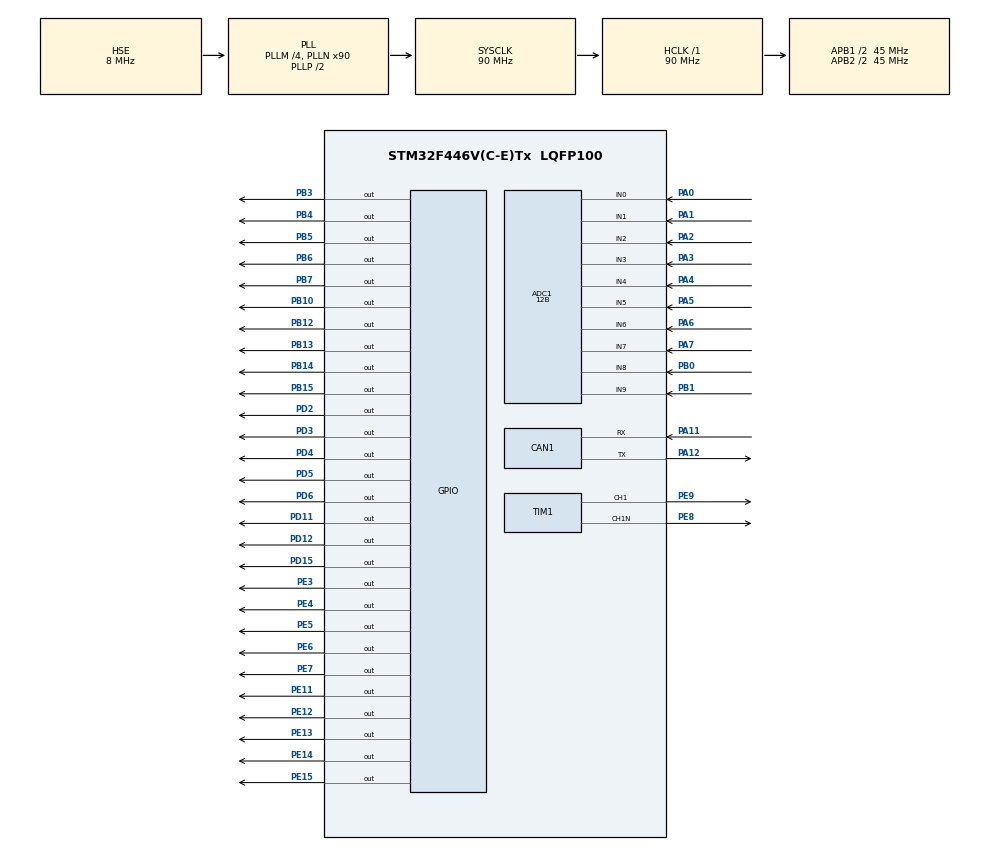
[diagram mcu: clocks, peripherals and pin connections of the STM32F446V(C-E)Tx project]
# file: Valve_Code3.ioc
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ADC1.Channel-0\#ChannelRegularConversion=ADC_CHANNEL_0
ADC1.Channel-1\#ChannelRegularConversion=ADC_CHANNEL_1
ADC1.Channel-2\#ChannelRegularConversion=ADC_CHANNEL_2
ADC1.Channel-3\#ChannelRegularConversion=ADC_CHANNEL_3
ADC1.Channel-4\#ChannelRegularConversion=ADC_CHANNEL_4
ADC1.Channel-5\#ChannelRegularConversion=ADC_CHANNEL_5
ADC1.Channel-6\#ChannelRegularConversion=ADC_CHANNEL_6
ADC1.Channel-7\#ChannelRegularConversion=ADC_CHANNEL_7
ADC1.Channel-8\#ChannelRegularConversion=ADC_CHANNEL_8
ADC1.Channel-9\#ChannelRegularConversion=ADC_CHANNEL_9
ADC1.ClockPrescaler=ADC_CLOCK_SYNC_PCLK_DIV4
ADC1.ContinuousConvMode=DISABLE
ADC1.DMAContinuousRequests=DISABLE
ADC1.DataAlign=ADC_DATAALIGN_RIGHT
ADC1.DiscontinuousConvMode=DISABLE
ADC1.EOCSelection=ADC_EOC_SINGLE_CONV
ADC1.EnableAnalogWatchDog=false
ADC1.ExternalTrigConv=ADC_SOFTWARE_START
ADC1.ExternalTrigConvEdge=ADC_EXTERNALTRIGCONVEDGE_NONE
ADC1.InjNumberOfConversion=0
ADC1.NbrOfConversion=10
ADC1.NbrOfConversionFlag=1
ADC1.Rank-0\#ChannelRegularConversion=1
ADC1.Rank-1\#ChannelRegularConversion=2
ADC1.Rank-2\#ChannelRegularConversion=3
ADC1.Rank-3\#ChannelRegularConversion=4
ADC1.Rank-4\#ChannelRegularConversion=5
ADC1.Rank-5\#ChannelRegularConversion=6
ADC1.Rank-6\#ChannelRegularConversion=7
ADC1.Rank-7\#ChannelRegularConversion=8
ADC1.Rank-8\#ChannelRegularConversion=9
ADC1.Rank-9\#ChannelRegularConversion=10
ADC1.Resolution=ADC_RESOLUTION_12B
ADC1.SamplingTime-0\#ChannelRegularConversion=ADC_SAMPLETIME_84CYCLES
ADC1.SamplingTime-1\#ChannelRegularConversion=ADC_SAMPLETIME_84CYCLES
ADC1.SamplingTime-2\#ChannelRegularConversion=ADC_SAMPLETIME_84CYCLES
ADC1.SamplingTime-3\#ChannelRegularConversion=ADC_SAMPLETIME_84CYCLES
ADC1.SamplingTime-4\#ChannelRegularConversion=ADC_SAMPLETIME_84CYCLES
ADC1.SamplingTime-5\#ChannelRegularConversion=ADC_SAMPLETIME_84CYCLES
ADC1.SamplingTime-6\#ChannelRegularConversion=ADC_SAMPLETIME_84CYCLES
ADC1.SamplingTime-7\#ChannelRegularConversion=ADC_SAMPLETIME_84CYCLES
ADC1.SamplingTime-8\#ChannelRegularConversion=ADC_SAMPLETIME_84CYCLES
ADC1.SamplingTime-9\#ChannelRegularConversion=ADC_SAMPLETIME_84CYCLES
ADC1.ScanConvMode=DISABLE
ADC1.master=1
CAN1.CalculateTimeBit=1066
CAN1.CalculateTimeQuantum=355.55555555555554
Mcu.Family=STM32F4
Mcu.Name=STM32F446V(C-E)Tx
Mcu.Package=LQFP100
NVIC.PriorityGroup=NVIC_PRIORITYGROUP_4
PA0-WKUP.Signal=ADCx_IN0
PA1.Signal=ADCx_IN1
PA11.Mode=Master
PA11.Signal=CAN1_RX
PA12.Mode=Master
PA12.Signal=CAN1_TX
PA13.Mode=Serial_Wire
PA13.Signal=SYS_JTMS-SWDIO
PA14.Mode=Serial_Wire
PA14.Signal=SYS_JTCK-SWCLK
PA2.Signal=ADCx_IN2
PA3.Signal=ADCx_IN3
PA4.Signal=ADCx_IN4
PA5.Signal=ADCx_IN5
PA6.Signal=ADCx_IN6
PA7.Signal=ADCx_IN7
PB0.Signal=ADCx_IN8
PB1.Signal=ADCx_IN9
PB10.Signal=GPIO_Output
PB12.Signal=GPIO_Output
PB13.Signal=GPIO_Output
PB14.Signal=GPIO_Output
PB15.Signal=GPIO_Output
PB3.Signal=GPIO_Output
PB4.Signal=GPIO_Output
PB5.Signal=GPIO_Output
PB6.Signal=GPIO_Output
PB7.Signal=GPIO_Output
PD11.Signal=GPIO_Output
PD12.Signal=GPIO_Output
PD15.Signal=GPIO_Output
PD2.Signal=GPIO_Output
PD3.Signal=GPIO_Output
PD4.Signal=GPIO_Output
PD5.Signal=GPIO_Output
PD6.Signal=GPIO_Output
PE11.Signal=GPIO_Output
PE12.Signal=GPIO_Output
PE13.Signal=GPIO_Output
PE14.Signal=GPIO_Output
PE15.Signal=GPIO_Output
PE3.Signal=GPIO_Output
PE4.Signal=GPIO_Output
PE5.Signal=GPIO_Output
PE6.Signal=GPIO_Output
PE7.Signal=GPIO_Output
PE8.Mode=Output Compare1 CH1 CH1N
PE8.Signal=TIM1_CH1N
PE9.Signal=S_TIM1_CH1
PH0-OSC_IN.Mode=HSE-External-Oscillator
PH0-OSC_IN.Signal=RCC_OSC_IN
PH1-OSC_OUT.Mode=HSE-External-Oscillator
PH1-OSC_OUT.Signal=RCC_OSC_OUT
ProjectManager.HeapSize=0x200
ProjectManager.StackSize=0x400
ProjectManager.TargetToolchain=TrueSTUDIO
RCC.AHBFreq_Value=90000000
RCC.APB1CLKDivider=RCC_HCLK_DIV2
RCC.APB1Freq_Value=45000000
RCC.APB1TimFreq_Value=90000000
RCC.APB2CLKDivider=RCC_HCLK_DIV2
RCC.APB2Freq_Value=45000000
RCC.APB2TimFreq_Value=90000000
RCC.CortexFreq_Value=90000000
RCC.HCLKFreq_Value=90000000
RCC.HSE_VALUE=8000000
RCC.PLLM=4
RCC.PLLN=90
RCC.PLLSourceVirtual=RCC_PLLSOURCE_HSE
RCC.SYSCLKFreq_VALUE=90000000
RCC.SYSCLKSource=RCC_SYSCLKSOURCE_PLLCLK
RCC.USBFreq_Value=90000000
RCC.VCOOutputFreq_Value=180000000
SH.ADCx_IN0.0=ADC1_IN0,IN0
SH.ADCx_IN1.0=ADC1_IN1,IN1
SH.ADCx_IN2.0=ADC1_IN2,IN2
SH.ADCx_IN3.0=ADC1_IN3,IN3
SH.ADCx_IN4.0=ADC1_IN4,IN4
SH.ADCx_IN5.0=ADC1_IN5,IN5
SH.ADCx_IN6.0=ADC1_IN6,IN6
SH.ADCx_IN7.0=ADC1_IN7,IN7
SH.ADCx_IN8.0=ADC1_IN8,IN8
SH.ADCx_IN9.0=ADC1_IN9,IN9
SH.S_TIM1_CH1.0=TIM1_CH1,Output Compare1 CH1 CH1N
TIM1.Channel-Output\ Compare1\ CH1\ CH1N=TIM_CHANNEL_1
board=Valve_Code3

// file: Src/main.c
/**
  ******************************************************************************
  * File Name          : main.c
  * Description        : Main program body
  ******************************************************************************
  ** This notice applies to any and all portions of this file
  * that are not between comment pairs USER CODE BEGIN and
  * USER CODE END. Other portions of this file, whether
  * inserted by the user or by software development tools
  * are owned by their respective copyright owners.
  *
  * COPYRIGHT(c) 2018 STMicroelectronics
  *
  * Redistribution and use in source and binary forms, with or without modification,
  * are permitted provided that the following conditions are met:
  *   1. Redistributions of source code must retain the above copyright notice,
  *      this list of conditions and the following disclaimer.
  *   2. Redistributions in binary form must reproduce the above copyright notice,
  *      this list of conditions and the following disclaimer in the documentation
  *      and/or other materials provided with the distribution.
  *   3. Neither the name of STMicroelectronics nor the names of its contributors
  *      may be used to endorse or promote products derived from this software
  *      without specific prior written permission.
  *
  * THIS SOFTWARE IS PROVIDED BY THE COPYRIGHT HOLDERS AND CONTRIBUTORS "AS IS"
  * AND ANY EXPRESS OR IMPLIED WARRANTIES, INCLUDING, BUT NOT LIMITED TO, THE
  * IMPLIED WARRANTIES OF MERCHANTABILITY AND FITNESS FOR A PARTICULAR PURPOSE ARE
  * DISCLAIMED. IN NO EVENT SHALL THE COPYRIGHT HOLDER OR CONTRIBUTORS BE LIABLE
  * FOR ANY DIRECT, INDIRECT, INCIDENTAL, SPECIAL, EXEMPLARY, OR CONSEQUENTIAL
  * DAMAGES (INCLUDING, BUT NOT LIMITED TO, PROCUREMENT OF SUBSTITUTE GOODS OR
  * SERVICES; LOSS OF USE, DATA, OR PROFITS; OR BUSINESS INTERRUPTION) HOWEVER
  * CAUSED AND ON ANY THEORY OF LIABILITY, WHETHER IN CONTRACT, STRICT LIABILITY,
  * OR TORT (INCLUDING NEGLIGENCE OR OTHERWISE) ARISING IN ANY WAY OUT OF THE USE
  * OF THIS SOFTWARE, EVEN IF ADVISED OF THE POSSIBILITY OF SUCH DAMAGE.
  *
  ******************************************************************************
  */

#include "main.h"
#include "stm32f4xx_hal.h"
#include "adc.h"
#include "can.h"
#include "tim.h"
#include "gpio.h"

/* USER CODE BEGIN PV */
/* Private variables ---------------------------------------------------------*/

/* USER CODE END PV */

void SystemClock_Config(void);

/* USER CODE BEGIN PFP */
/* Private function prototypes -----------------------------------------------*/

/* USER CODE END PFP */

int main(void)
{

  /* MCU Configuration----------------------------------------------------------*/

  /* Reset of all peripherals, Initializes the Flash interface and the Systick. */
  HAL_Init();

  /* Configure the system clock */
  SystemClock_Config();

  /* Initialize all configured peripherals */
  MX_GPIO_Init();
  MX_ADC1_Init();
  MX_CAN1_Init();
  MX_TIM1_Init();

  /* USER CODE BEGIN 2 */
  HAL_GPIO_WritePin(GPIOB, GPIO_PIN_6, 1); //Enable A1
  HAL_GPIO_WritePin(GPIOD, GPIO_PIN_4, 1);//Enable A2
  HAL_GPIO_WritePin(GPIOB, GPIO_PIN_13, 1);//Enable A3
  HAL_GPIO_WritePin(GPIOE, GPIO_PIN_14, 1);//Enable A4
  HAL_GPIO_WritePin(GPIOB,GPIO_PIN_3, 1); //Enable B1
  HAL_GPIO_WritePin(GPIOD, GPIO_PIN_2, 1);//Enable B2
  HAL_GPIO_WritePin(GPIOB, GPIO_PIN_10, 1);//Enable B3
  HAL_GPIO_WritePin(GPIOE, GPIO_PIN_11, 1);//Enable B4
  HAL_GPIO_WritePin(GPIOE, GPIO_PIN_4, 1);//Enable B5
  /* USER CODE END 2 */

  /* Infinite loop */
  while (1)
  {

  /* USER CODE BEGIN 3 */
	  HAL_ADC_Start(&hadc1);
	  HAL_ADC_PollForConversion(&hadc1, HAL_MAX_DELAY);
	  int VALVE_0 = HAL_ADC_GetValue(&hadc1);
	  HAL_ADC_Stop(&hadc1);
	  //Valve 0 (A1)
	  	  HAL_GPIO_WritePin(GPIOB, GPIO_PIN_5, 1);
	  	  HAL_GPIO_WritePin(GPIOB, GPIO_PIN_7, 0);

	  	  HAL_Delay(1000);

	  	  HAL_GPIO_WritePin(GPIOB, GPIO_PIN_5, 0);
	  	  HAL_GPIO_WritePin(GPIOB, GPIO_PIN_7, 1);

	  	  HAL_Delay(1000);

	  	 //Valve 1 (B1)
	  	  HAL_GPIO_WritePin(GPIOB, GPIO_PIN_4, 1);
	  	  	  HAL_GPIO_WritePin(GPIOD, GPIO_PIN_6, 0);

	  	  	  HAL_Delay(1000);

	  	  	  HAL_GPIO_WritePin(GPIOB, GPIO_PIN_4, 0);
	  	  	  HAL_GPIO_WritePin(GPIOD, GPIO_PIN_6, 1);

	  	  	  HAL_Delay(1000);

	  	  	  //Valve 2 (A2)
	  	  	/*HAL_GPIO_WritePin(GPIOD, GPIO_PIN_3, 1);
	  	  		  HAL_GPIO_WritePin(GPIOD, GPIO_PIN_5, 0);

	  	  		  HAL_Delay(1000);

	  	  		  HAL_GPIO_WritePin(GPIOD, GPIO_PIN_3, 0);
	  	  		  HAL_GPIO_WritePin(GPIOD, GPIO_PIN_5, 1);

	  	  		  HAL_Delay(1000);

	  	  		  //Valve 3 (B2)
	  	  		  HAL_GPIO_WritePin(GPIOD, GPIO_PIN_15, 1);
	  	  		  HAL_GPIO_WritePin(GPIOD, GPIO_PIN_12, 0);

	  	  		  HAL_Delay(1000);

	  	  		  HAL_GPIO_WritePin(GPIOD, GPIO_PIN_15, 0);
	  	  		  HAL_GPIO_WritePin(GPIOD, GPIO_PIN_12, 1);

	  	  		  HAL_Delay(1000);

	  	  		  //Valve 4 (A3)
	  	  		  HAL_GPIO_WritePin(GPIOB, GPIO_PIN_12, 1);
	  	  		  HAL_GPIO_WritePin(GPIOB, GPIO_PIN_14, 0);

	  	  		  HAL_Delay(1000);

	  	  		  HAL_GPIO_WritePin(GPIOB, GPIO_PIN_12, 0);
	  	  		  HAL_GPIO_WritePin(GPIOB, GPIO_PIN_14, 1);

	  	  		  HAL_Delay(1000);

	  	  		  //Valve 5 (B3)
	  	  		  HAL_GPIO_WritePin(GPIOE, GPIO_PIN_15, 1);
	  	  		  HAL_GPIO_WritePin(GPIOB, GPIO_PIN_15, 0);

	  	  		  HAL_Delay(1000);

	  	  		  HAL_GPIO_WritePin(GPIOE, GPIO_PIN_15, 0);
	  	  		  HAL_GPIO_WritePin(GPIOB, GPIO_PIN_15, 1);

	  	  		  HAL_Delay(1000);

	  	  		  //Valve 6 (A4)
	  	  		  HAL_GPIO_WritePin(GPIOD, GPIO_PIN_11, 1);
	  	  		  HAL_GPIO_WritePin(GPIOE, GPIO_PIN_13, 0);

	  	  		  HAL_Delay(1000);

	  	  		  HAL_GPIO_WritePin(GPIOD, GPIO_PIN_11, 0);
	  	  		  HAL_GPIO_WritePin(GPIOE, GPIO_PIN_13, 1);

	  	  		  HAL_Delay(1000);

	  	  		  //Valve 7 (B4)
	  	  		  HAL_GPIO_WritePin(GPIOE, GPIO_PIN_7, 1);
	  	  		  HAL_GPIO_WritePin(GPIOE, GPIO_PIN_12, 0);

	  	  		  HAL_Delay(1000);

	  	  		  HAL_GPIO_WritePin(GPIOE, GPIO_PIN_7, 0);
	  	  		  HAL_GPIO_WritePin(GPIOE, GPIO_PIN_12, 1);

	  	  		  HAL_Delay(1000);

	  	  		  //Omitted Valve 8 (A5)
	  	  		  /*Would be:
	  	  		   *
	  	  HAL_GPIO_WritePin(GPIOE, GPIO_PIN_6, 1);
	  	  HAL_GPIO_WritePin(GPIOD, GPIO_PIN_13, 0);

	  	  HAL_Delay(1000);

	  	  HAL_GPIO_WritePin(GPIOE, GPIO_PIN_6, 0);
	  	  HAL_GPIO_WritePin(GPIOD, GPIO_PIN_13, 1);

	  	  HAL_Delay(1000);
	  	  		   *
	  	  		   */

	  	  		/*  //Valve 9 (B5)
	  	  		  HAL_GPIO_WritePin(GPIOE, GPIO_PIN_5, 1);
	  	  		  HAL_GPIO_WritePin(GPIOE, GPIO_PIN_3, 0);

	  	  		  HAL_Delay(1000);

	  	  		  HAL_GPIO_WritePin(GPIOE, GPIO_PIN_5, 0);
	  	  		  HAL_GPIO_WritePin(GPIOE, GPIO_PIN_3, 1);

	  	  		  HAL_Delay(1000);
*/
  }
  /* USER CODE END 3 */

}

/** System Clock Configuration
*/
void SystemClock_Config(void)
{

  RCC_OscInitTypeDef RCC_OscInitStruct;
  RCC_ClkInitTypeDef RCC_ClkInitStruct;

    /**Configure the main internal regulator output voltage
    */
  __HAL_RCC_PWR_CLK_ENABLE();

  __HAL_PWR_VOLTAGESCALING_CONFIG(PWR_REGULATOR_VOLTAGE_SCALE3);

    /**Initializes the CPU, AHB and APB busses clocks
    */
  RCC_OscInitStruct.OscillatorType = RCC_OSCILLATORTYPE_HSE;
  RCC_OscInitStruct.HSEState = RCC_HSE_ON;
  RCC_OscInitStruct.PLL.PLLState = RCC_PLL_ON;
  RCC_OscInitStruct.PLL.PLLSource = RCC_PLLSOURCE_HSE;
  RCC_OscInitStruct.PLL.PLLM = 4;
  RCC_OscInitStruct.PLL.PLLN = 90;
  RCC_OscInitStruct.PLL.PLLP = RCC_PLLP_DIV2;
  RCC_OscInitStruct.PLL.PLLQ = 2;
  RCC_OscInitStruct.PLL.PLLR = 2;
  if (HAL_RCC_OscConfig(&RCC_OscInitStruct) != HAL_OK)
  {
    _Error_Handler(__FILE__, __LINE__);
  }

    /**Initializes the CPU, AHB and APB busses clocks
    */
  RCC_ClkInitStruct.ClockType = RCC_CLOCKTYPE_HCLK|RCC_CLOCKTYPE_SYSCLK
                              |RCC_CLOCKTYPE_PCLK1|RCC_CLOCKTYPE_PCLK2;
  RCC_ClkInitStruct.SYSCLKSource = RCC_SYSCLKSOURCE_PLLCLK;
  RCC_ClkInitStruct.AHBCLKDivider = RCC_SYSCLK_DIV1;
  RCC_ClkInitStruct.APB1CLKDivider = RCC_HCLK_DIV2;
  RCC_ClkInitStruct.APB2CLKDivider = RCC_HCLK_DIV2;

  if (HAL_RCC_ClockConfig(&RCC_ClkInitStruct, FLASH_LATENCY_2) != HAL_OK)
  {
    _Error_Handler(__FILE__, __LINE__);
  }

    /**Configure the Systick interrupt time
    */
  HAL_SYSTICK_Config(HAL_RCC_GetHCLKFreq()/1000);

    /**Configure the Systick
    */
  HAL_SYSTICK_CLKSourceConfig(SYSTICK_CLKSOURCE_HCLK);

  /* SysTick_IRQn interrupt configuration */
  HAL_NVIC_SetPriority(SysTick_IRQn, 0, 0);
}

void _Error_Handler(char * file, int line)
{
  while(1)
  {
  }
}

/************************ (C) COPYRIGHT STMicroelectronics *****END OF FILE****/
